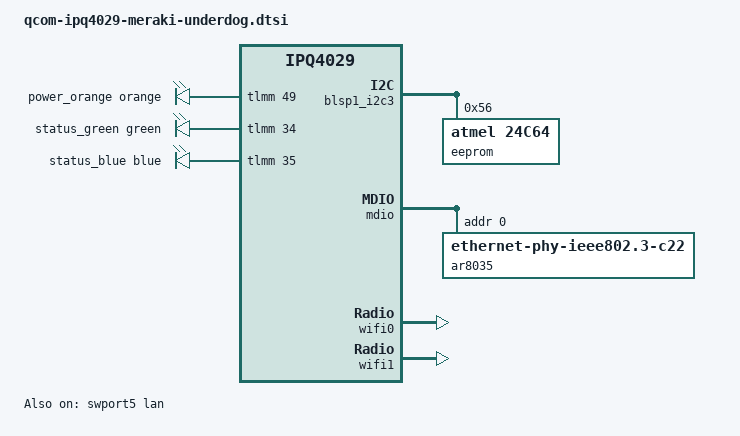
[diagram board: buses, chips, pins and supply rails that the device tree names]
// SPDX-License-Identifier: GPL-2.0-only
/*
 * Device Tree Source for Meraki devices
 *
 * Copyright (C) 2017 Chris Blake <chrisrblake93@gmail.com>
 * Copyright (C) 2017 Christian Lamparter <chunkeey@googlemail.com>
 * Copyright (C) 2025 Hal Martin <halmartin@googlemail.com>
 *
 * Based on Cisco Meraki DTS from GPL release r25-linux-3.14-20170427
 *
 * This file is licensed under the terms of the GNU General Public
 * License version 2.  This program is licensed "as is" without
 * any warranty of any kind, whether express or implied.
 */

#include "qcom-ipq4029-meraki-common.dtsi"

/ {
	aliases {
		led-boot = &status_green;
		led-failsafe = &status_blue;
		led-running = &status_green;
		led-upgrade = &power_orange;
	};

	leds {
		compatible = "gpio-leds";

		power_orange: power {
			function = LED_FUNCTION_POWER;
			color = <LED_COLOR_ID_ORANGE>;
			gpios = <&tlmm 49 GPIO_ACTIVE_HIGH>;
			panic-indicator;
		};

		status_green: led_green {
			function = LED_FUNCTION_STATUS;
			color = <LED_COLOR_ID_GREEN>;
			gpios = <&tlmm 34 GPIO_ACTIVE_HIGH>;
		};

		status_blue: led_blue {
			function = LED_FUNCTION_STATUS;
			color = <LED_COLOR_ID_BLUE>;
			gpios = <&tlmm 35 GPIO_ACTIVE_HIGH>;
		};
	};

	soc {
		ess_tcsr@1953000 {
			qcom,ess-interface-select = <TCSR_ESS_PSGMII_RGMII5>;
		};
	};
};

&blsp1_i2c3 {
	eeprom@56 {
		compatible = "atmel,24c64";
		pagesize = <32>;
		reg = <0x56>;
		read-only; /* This holds our MAC & Meraki board-data */

		nvmem-layout {
			compatible = "fixed-layout";
			#address-cells = <1>;
			#size-cells = <1>;

			mac_address: mac-address@66 {
				compatible = "mac-base";
				reg = <0x66 0x6>;
				#nvmem-cell-cells = <1>;
			};
		};
	};
};

&tlmm {
	i2c_0_pins: i2c_0_pinmux {
		function = "blsp_i2c0";
		pins = "gpio10", "gpio11";
		drive-strength = <16>;
		bias-disable;
	};
};

&mdio {
	ethernet-phy-package@0 {
		status = "disabled";
	};

	ar8035: ethernet-phy@0 {
		compatible = "ethernet-phy-ieee802.3-c22";
		reg = <0>;
	};
};

&switch {
	/delete-property/ psgmii-ethphy;
};

&ethphy0 {
	status = "disabled";
};

&ethphy1 {
	status = "disabled";
};

&ethphy2 {
	status = "disabled";
};

&ethphy3 {
	status = "disabled";
};

&ethphy4 {
	status = "disabled";
};

&psgmiiphy {
	status = "disabled";
};

&swport5 {
	status = "okay";
	label = "lan";
	phy-handle = <&ar8035>;
	phy-mode = "rgmii-id";
};

&wifi0 {
	status = "okay";
	qcom,ath10k-calibration-variant = "Meraki-underdog";
};

&wifi1 {
	status = "okay";
	qcom,ath10k-calibration-variant = "Meraki-underdog";
};
